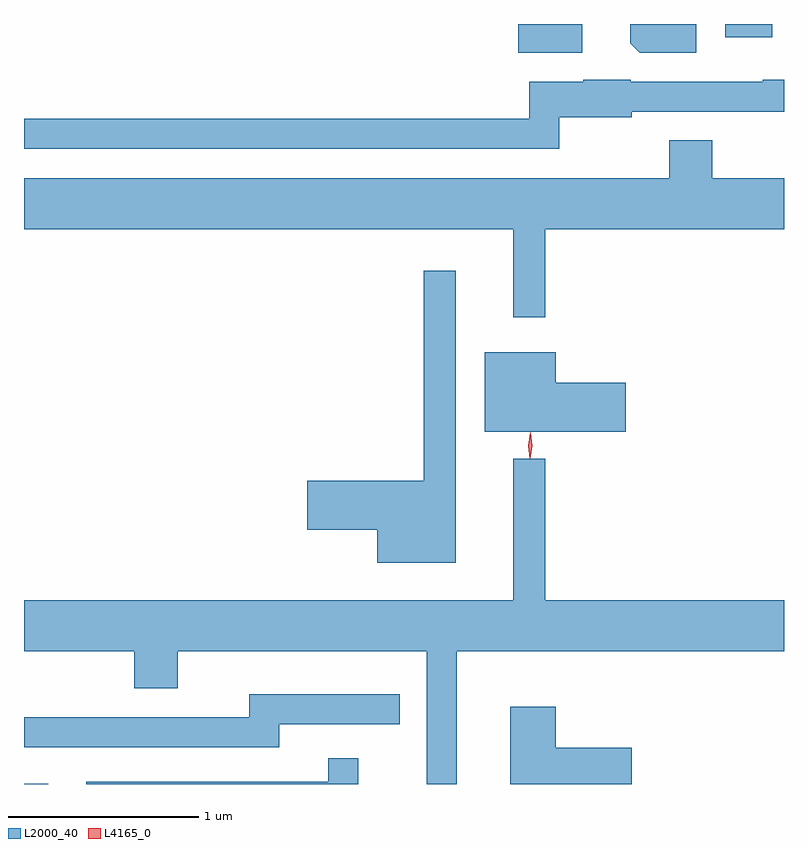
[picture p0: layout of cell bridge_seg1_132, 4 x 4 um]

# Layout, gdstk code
import gdstk
lib = gdstk.Library(unit=1e-6, precision=1e-09)
def R(c, l, rs):  # rectangles x0, y0, x1, y1
    for r in rs: c.add(gdstk.rectangle(r[:2], r[2:], *l))
def P(c, l, *ps):  # polygons
    for p in ps: c.add(gdstk.Polygon(p, *l))
L2000_40 = (2000, 40)
L4165_0 = (4165, 0)

bridge_seg1_132 = lib.new_cell('bridge_seg1_132')
R(bridge_seg1_132, L2000_40, [(1423.706,878.897,1423.833,878.899), (1426.306,882.746,1426.644,882.897), (1427.396,882.826,1427.644,882.897)])
P(bridge_seg1_132, L2000_40, [(1427.244,882.897),(1426.896,882.897),(1426.896,882.797),(1426.947,882.746),(1427.244,882.746)],
  [(1426.524,882.406),(1426.904,882.406),(1426.904,882.436),(1427.706,882.436),(1427.706,882.604),(1427.595,882.604),(1427.595,882.594),(1426.9,882.594),(1426.9,882.604),(1426.65,882.604),(1426.65,882.594),(1426.366,882.594),(1426.366,882.399),(1423.706,882.399),(1423.706,882.241),(1426.524,882.241)],
  [(1426.449,881.816),(1427.706,881.816),(1427.706,882.084),(1427.329,882.084),(1427.329,882.284),(1427.101,882.284),(1427.101,882.084),(1423.706,882.084),(1423.706,881.816),(1426.281,881.816),(1426.281,881.353),(1426.449,881.353)],
  [(1425.979,881.598),(1425.811,881.598),(1425.811,880.494),(1425.196,880.494),(1425.196,880.236),(1425.566,880.236),(1425.566,880.061),(1425.979,880.061)],
  [(1426.874,881.009),(1426.504,881.009),(1426.504,881.169),(1426.131,881.169),(1426.131,880.751),(1426.874,880.751)],
  [(1425.984,879.596),(1427.706,879.596),(1427.706,879.864),(1426.449,879.864),(1426.449,880.608),(1426.281,880.608),(1426.281,879.864),(1423.706,879.864),(1423.706,879.596),(1424.286,879.596),(1424.286,879.401),(1424.514,879.401),(1424.514,879.596),(1425.826,879.596),(1425.826,878.897),(1425.984,878.897)],
  [(1425.049,879.211),(1425.683,879.211),(1425.683,879.369),(1424.891,879.369),(1424.891,879.249),(1423.706,879.249),(1423.706,879.091),(1425.049,879.091)],
  [(1426.904,879.089),(1426.504,879.089),(1426.504,879.304),(1426.266,879.304),(1426.266,878.897),(1426.904,878.897)],
  [(1425.464,879.033),(1425.306,879.033),(1425.306,878.909),(1424.033,878.909),(1424.033,878.897),(1425.464,878.897)])
P(bridge_seg1_132, L4165_0, [(1426.369,880.61),(1426.361,880.678),(1426.371,880.745),(1426.371,880.746),(1426.372,880.745),(1426.38,880.678),(1426.37,880.61),(1426.37,880.61)],
  [(1426.37,880.613),(1426.369,880.614),(1426.361,880.676),(1426.371,880.739),(1426.371,880.74),(1426.372,880.739),(1426.38,880.676),(1426.37,880.614)])

lib.write_gds('bridge_seg1_132.gds')
